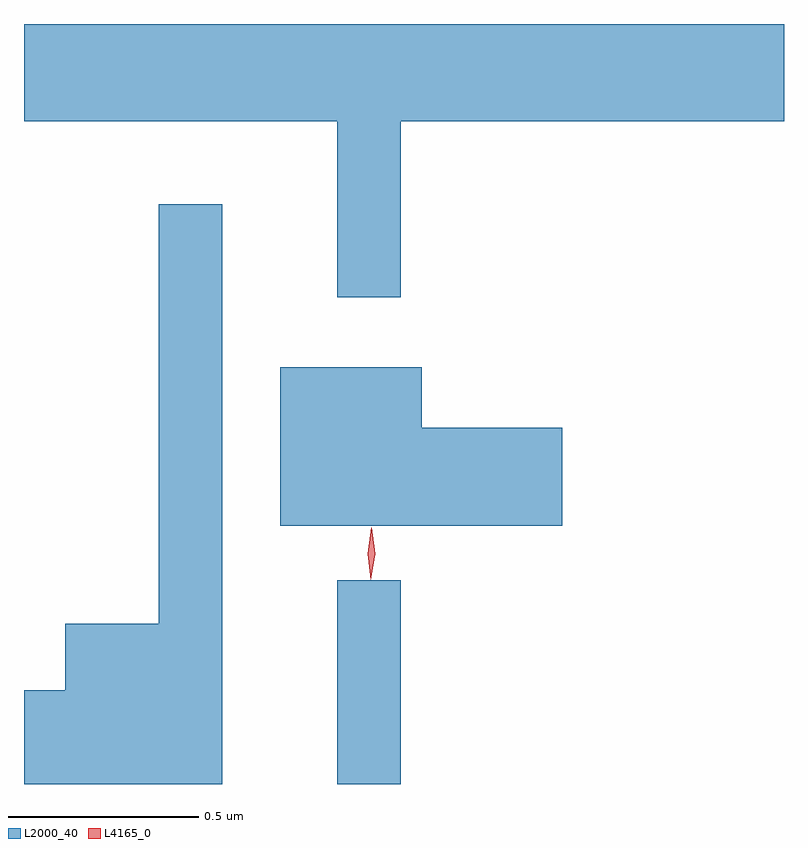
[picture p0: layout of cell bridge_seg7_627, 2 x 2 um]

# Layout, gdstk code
import gdstk
lib = gdstk.Library(unit=1e-6, precision=1e-09)
def R(c, l, rs):  # rectangles x0, y0, x1, y1
    for r in rs: c.add(gdstk.rectangle(r[:2], r[2:], *l))
def P(c, l, *ps):  # polygons
    for p in ps: c.add(gdstk.Polygon(p, *l))
L2000_40 = (2000, 40)
L4165_0 = (4165, 0)

bridge_seg7_627 = lib.new_cell('bridge_seg7_627')
R(bridge_seg7_627, L2000_40, [(813.561,1705.912,813.729,1706.448)])
P(bridge_seg7_627, L2000_40, [(813.729,1707.656),(814.737,1707.656),(814.737,1707.912),(812.737,1707.912),(812.737,1707.656),(813.561,1707.656),(813.561,1707.193),(813.729,1707.193)],
  [(813.259,1707.438),(813.091,1707.438),(813.091,1706.334),(812.846,1706.334),(812.846,1706.159),(812.737,1706.159),(812.737,1705.912),(813.259,1705.912)],
  [(814.154,1706.849),(813.784,1706.849),(813.784,1707.009),(813.411,1707.009),(813.411,1706.591),(814.154,1706.591)])
P(bridge_seg7_627, L4165_0, [(813.649,1706.45),(813.641,1706.518),(813.651,1706.586),(813.652,1706.586),(813.652,1706.586),(813.661,1706.518),(813.65,1706.45),(813.65,1706.45)],
  [(813.649,1706.453),(813.641,1706.516),(813.651,1706.579),(813.652,1706.58),(813.652,1706.579),(813.661,1706.516),(813.65,1706.453),(813.65,1706.453)])

lib.write_gds('bridge_seg7_627.gds')
